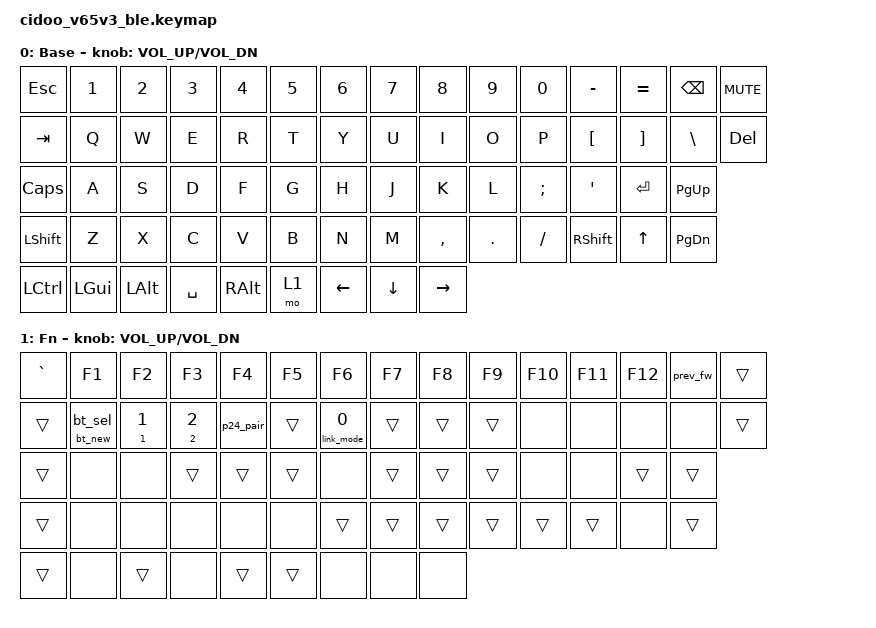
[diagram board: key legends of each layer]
/*
 * SPDX-License-Identifier: GPL-3.0-or-later
 */

/*
 * CIDOO V65 V3 keymap for the own BLE stack (TLSR_BLE) and the 2.4G link
 * (TLSR_P24); the same as cidoo_v65v3.keymap but for the wireless keys on Fn + Q/W/E
 * (BT channels 1-3: a tap keeps the BLE link and selects ZMK profile 0/1/2, held 3 s it
 * also clears the profile's bond) and Fn + R (the 2.4G link: a tap chooses it, held 3 s
 * in it pairs with a dongle). The cable's power decides wired or wireless (no mode switch).
 * Generated by gen_v65v3.py from the original keymap's layers 0 (Base) and 1 (Fn).
 * Original knob: left = &kp C_VOL_DN, right = &kp C_VOL_UP, press = 0,14.
 */

#include <behaviors.dtsi>
#include <dt-bindings/zmk/keys.h>
#include <dt-bindings/zmk/bt.h>

/ {
    macros {
        bt_sel: bt_sel {
            compatible = "zmk,behavior-macro-one-param";
            #binding-cells = <1>;
            bindings = <&link_mode 1>, <&macro_param_1to2>, <&bt BT_SEL MACRO_PLACEHOLDER>;
        };
        bt_new: bt_new {
            compatible = "zmk,behavior-macro-one-param";
            #binding-cells = <1>;
            bindings = <&link_mode 1>, <&macro_param_1to2>, <&bt BT_SEL MACRO_PLACEHOLDER>, <&bt BT_CLR>;
        };
    };

    behaviors {
        /* The link kept with the profiles: 0 USB, 1 BLE, 2 the 2.4G link; running another, a reboot */
        link_mode: link_mode {
            compatible = "zmk,behavior-link-mode";
            #binding-cells = <1>;
            display-name = "Link";
        };
        /* Fn + R: a tap chooses the 2.4G link; held 3 s in it, pairs with a dongle */
        p24_pair: p24_pair {
            compatible = "zmk,behavior-p24-pair";
            #binding-cells = <0>;
            hold-ms = <3000>;
        };
        bt_ch: bt_ch {
            compatible = "zmk,behavior-hold-tap";
            #binding-cells = <2>;
            flavor = "tap-preferred";
            tapping-term-ms = <3000>;
            bindings = <&bt_new>, <&bt_sel>;
        };
    };

    keymap {
        compatible = "zmk,keymap";

        base_layer {
            display-name = "Base";
            bindings = <
                &kp ESC         &kp N1          &kp N2          &kp N3          &kp N4          &kp N5          &kp N6          &kp N7          &kp N8          &kp N9          &kp N0          &kp MINUS       &kp EQUAL       &kp BSPC        &kp C_MUTE
                &kp TAB         &kp Q           &kp W           &kp E           &kp R           &kp T           &kp Y           &kp U           &kp I           &kp O           &kp P           &kp LBKT        &kp RBKT        &kp BSLH        &kp DEL
                &kp CAPS        &kp A           &kp S           &kp D           &kp F           &kp G           &kp H           &kp J           &kp K           &kp L           &kp SEMI        &kp SQT         &kp RET         &kp PG_UP
                &kp LSHFT       &kp Z           &kp X           &kp C           &kp V           &kp B           &kp N           &kp M           &kp COMMA       &kp DOT         &kp FSLH        &kp RSHFT       &kp UP          &kp PG_DN
                &kp LCTRL       &kp LGUI        &kp LALT        &kp SPACE       &kp RALT        &mo 1           &kp LEFT        &kp DOWN        &kp RIGHT
            >;
            sensor-bindings = <&inc_dec_kp C_VOL_UP C_VOL_DN>;
        };

        fn_layer {
            /* Original bindings left out (matrix row,col):
             *   2,10: RGB_HUI (no RGB yet)
             *   2,11: RGB_SAI (no RGB yet)
             *   2,12: RGB_MOD (no RGB yet)
             *   2,13: RGB_TOG (no RGB yet)
             *   3,1: WIN MODE (original firmware only)
             *   3,2: MAC MODE (original firmware only)
             *   3,6: DESKTOP LIGHT LOW (original firmware only)
             *   3,10: RGB_HUD (no RGB yet)
             *   3,11: RGB_SAD (no RGB yet)
             *   4,2: Bluetooth 1 (original firmware only)
             *   4,3: Bluetooth 2 (original firmware only)
             *   4,4: Bluetooth 3 (original firmware only)
             *   4,5: 2.4G MODE (original firmware only)
             *   4,6: KEY SCAN DELAY (original firmware only)
             *   4,13: RGB_VAI (no RGB yet)
             *   5,1: LOCK WIN KEY (original firmware only)
             *   5,6: USB MODE (original firmware only)
             *   5,12: RGB_SPD (no RGB yet)
             *   5,13: RGB_VAD (no RGB yet)
             *   5,14: RGB_SPI (no RGB yet)
             */
            display-name = "Fn";
            bindings = <
                &kp GRAVE       &kp F1          &kp F2          &kp F3          &kp F4          &kp F5          &kp F6          &kp F7          &kp F8          &kp F9          &kp F10         &kp F11         &kp F12         &prev_fw        &trans
                &trans          &bt_ch 0 0      &bt_ch 1 1      &bt_ch 2 2      &p24_pair       &trans          &link_mode 0    &trans          &trans          &trans          &none           &none           &none           &none           &trans
                &trans          &none           &none           &trans          &trans          &trans          &none           &trans          &trans          &trans          &none           &none           &trans          &trans
                &trans          &none           &none           &none           &none           &none           &trans          &trans          &trans          &trans          &trans          &trans          &none           &trans
                &trans          &none           &trans          &none           &trans          &trans          &none           &none           &none
            >;
            sensor-bindings = <&inc_dec_kp C_VOL_UP C_VOL_DN>;
        };
    };
};

/* Not on these keyboards: &sys_reset only reboots (settings stay), and &bootloader has no
 * bootloader to enter (firmware updates go through the update tool). */
&sys_reset {
	status = "disabled";
};

&bootloader {
	status = "disabled";
};
